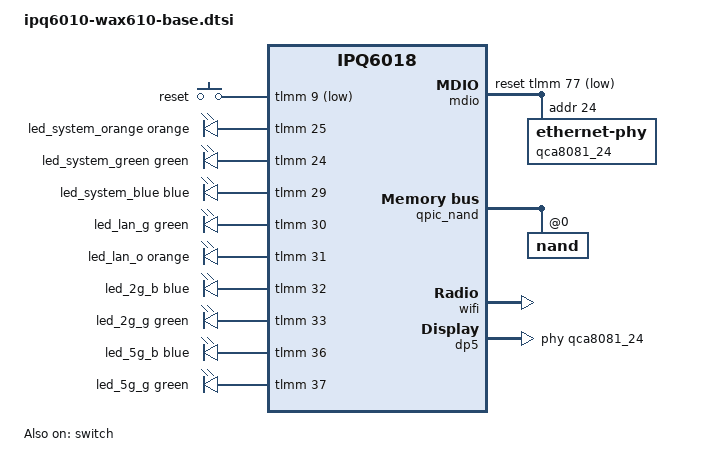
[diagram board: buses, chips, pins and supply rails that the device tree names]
// SPDX-License-Identifier: GPL-2.0-or-later OR MIT

#include "ipq6018.dtsi"
#include "ipq6018-ess.dtsi"
#include "ipq6018-nss.dtsi"
#include "ipq6018-common.dtsi"
#include "ipq6018-cp-cpu.dtsi"

#include <dt-bindings/gpio/gpio.h>
#include <dt-bindings/input/input.h>
#include <dt-bindings/leds/common.h>

/ {
	aliases {
		serial0 = &blsp1_uart3;
		label-mac-device = &dp5;
		ethernet0 = &dp5;

		led-boot = &led_system_blue;
		led-failsafe = &led_system_orange;
		led-running = &led_system_green;
		led-upgrade = &led_system_blue;
	};

	chosen {
		stdout-path = "serial0:115200n8";
		bootargs-append = " root=/dev/ubiblock0_1";
	};

	keys {
		compatible = "gpio-keys";

		reset {
			label = "reset";
			gpios = <&tlmm 9 GPIO_ACTIVE_LOW>;
			linux,code = <KEY_RESTART>;
			debounce-interval = <60>;
		};
	};

	leds {
		compatible = "gpio-leds";

		led_system_orange: system-orange {
			color = <LED_COLOR_ID_ORANGE>;
			function = LED_FUNCTION_POWER;
			function-enumerator = <0>;
			gpios = <&tlmm 25 GPIO_ACTIVE_HIGH>;
		};

		led_system_green: system-green {
			color = <LED_COLOR_ID_GREEN>;
			function = LED_FUNCTION_POWER;
			function-enumerator = <1>;
			gpios = <&tlmm 24 GPIO_ACTIVE_HIGH>;
		};

		led_system_blue: system-blue {
			color = <LED_COLOR_ID_BLUE>;
			function = LED_FUNCTION_POWER;
			function-enumerator = <2>;
			gpios = <&tlmm 29 GPIO_ACTIVE_HIGH>;
		};

		led_lan_g {
			color = <LED_COLOR_ID_GREEN>;
			function = LED_FUNCTION_LAN;
			function-enumerator = <0>;
			gpios = <&tlmm 30 GPIO_ACTIVE_HIGH>;
		};

		led_lan_o {
			color = <LED_COLOR_ID_ORANGE>;
			function = LED_FUNCTION_LAN;
			function-enumerator = <1>;
			gpios = <&tlmm 31 GPIO_ACTIVE_HIGH>;
		};

		led_2g_b {
			color = <LED_COLOR_ID_BLUE>;
			function = LED_FUNCTION_WLAN;
			function-enumerator = <0>;
			gpios = <&tlmm 32 GPIO_ACTIVE_HIGH>;
			linux,default-trigger = "phy1radio";
		};

		led_2g_g {
			color = <LED_COLOR_ID_GREEN>;
			function = LED_FUNCTION_WLAN;
			function-enumerator = <1>;
			gpios = <&tlmm 33 GPIO_ACTIVE_HIGH>;
		};

		led_5g_b {
			color = <LED_COLOR_ID_BLUE>;
			function = LED_FUNCTION_WLAN;
			function-enumerator = <2>;
			gpios = <&tlmm 36 GPIO_ACTIVE_HIGH>;
			linux,default-trigger = "phy0radio";
		};

		led_5g_g {
			color = <LED_COLOR_ID_GREEN>;
			function = LED_FUNCTION_WLAN;
			function-enumerator = <3>;
			gpios = <&tlmm 37 GPIO_ACTIVE_HIGH>;
		};
	};
};

&switch {
	status = "okay";

	switch_lan_bmp = <ESS_PORT5>;
	switch_mac_mode1 = <MAC_MODE_SGMII_PLUS>;

	qcom,port_phyinfo {
		port@5 {
			port_id = <5>;
			phy_address = <24>;
			port_mac_sel = "QGMAC_PORT";
		};
	};
};

&mdio {
	status = "okay";

	pinctrl-0 = <&mdio_pins>;
	pinctrl-names = "default";
	reset-gpios = <&tlmm 77 GPIO_ACTIVE_LOW>;

	qca8081_24: ethernet-phy@24 {
		reg = <24>;
	};
};

&qpic_nand {
	status = "okay";

	nand@0 {
		reg = <0>;

		nand-ecc-strength = <4>;
		nand-ecc-step-size = <512>;
		nand-bus-width = <8>;

		partitions {
			compatible = "qcom,smem-part";
		};
	};
};

&wifi {
	status = "okay";
	qcom,ath11k-fw-memory-mode = <1>;
	qcom,m3-dump-addr = <0x50100000>;
};

&dp5 {
	status = "okay";
	phy-handle = <&qca8081_24>;
	label = "lan";
};

&edma {
	status = "okay";
};
